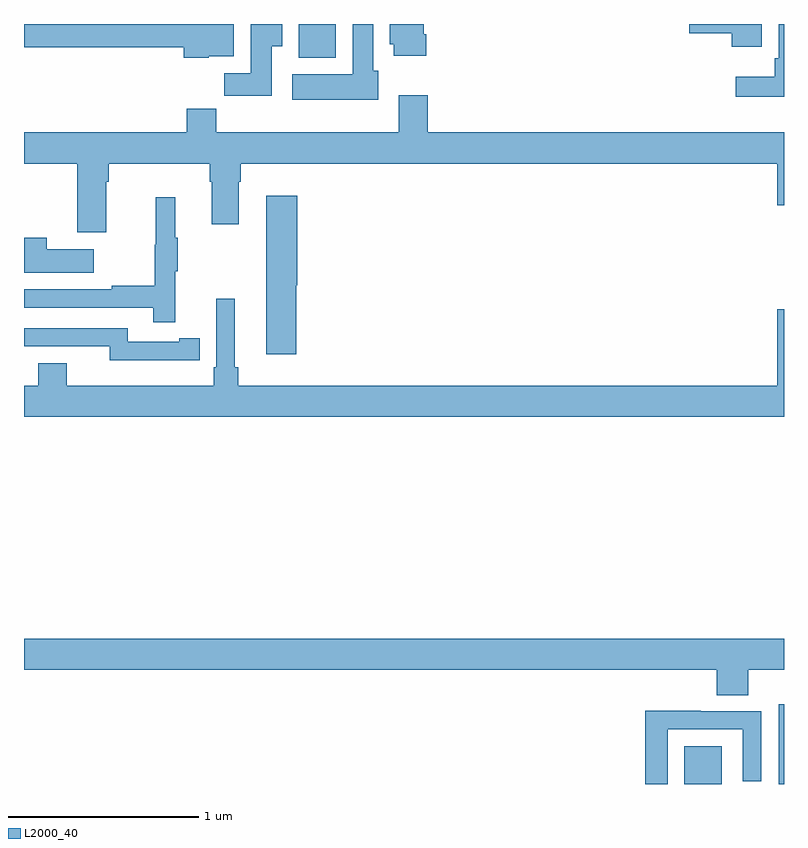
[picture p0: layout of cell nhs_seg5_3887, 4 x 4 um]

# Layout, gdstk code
import gdstk
lib = gdstk.Library(unit=1e-6, precision=1e-09)
def R(c, l, rs):  # rectangles x0, y0, x1, y1
    for r in rs: c.add(gdstk.rectangle(r[:2], r[2:], *l))
def P(c, l, *ps):  # polygons
    for p in ps: c.add(gdstk.Polygon(p, *l))
L2000_40 = (2000, 40)

nhs_seg5_3887 = lib.new_cell('nhs_seg5_3887')
R(nhs_seg5_3887, L2000_40, [(342.476,882.799,342.673,882.997), (342.972,882.799,343,883.219), (340.445,886.622,340.642,886.799)])
P(nhs_seg5_3887, L2000_40, [(342.883,886.799),(342.5,886.799),(342.5,886.751),(342.725,886.751),(342.725,886.68),(342.883,886.68)],
  [(343,886.799),(342.972,886.799),(342.972,886.618),(342.952,886.618),(342.952,886.522),(342.747,886.522),(342.747,886.415),(343,886.415)],
  [(340.303,886.681),(340.36,886.681),(340.36,886.799),(340.193,886.799),(340.193,886.54),(340.054,886.54),(340.054,886.422),(340.303,886.422)],
  [(340.864,886.554),(340.837,886.554),(340.837,886.799),(340.73,886.799),(340.73,886.534),(340.413,886.534),(340.413,886.4),(340.864,886.4)],
  [(339.972,886.628),(340.105,886.628),(340.105,886.799),(339,886.799),(339,886.677),(339.842,886.677),(339.842,886.622),(339.972,886.622)],
  [(341.117,886.744),(341.104,886.744),(341.104,886.799),(340.925,886.799),(340.925,886.692),(340.946,886.692),(340.946,886.632),(341.117,886.632)],
  [(339.433,885.968),(339.446,885.968),(339.446,886.064),(339.977,886.064),(339.977,885.968),(339.989,885.968),(339.989,885.744),(340.129,885.744),(340.129,885.968),(340.142,885.968),(340.142,886.064),(342.965,886.064),(342.965,885.846),(343,885.846),(343,886.228),(341.126,886.228),(341.126,886.423),(340.973,886.423),(340.973,886.228),(340.013,886.228),(340.013,886.352),(339.857,886.352),(339.857,886.228),(339,886.228),(339,886.064),(339.281,886.064),(339.281,885.702),(339.433,885.702)],
  [(340.433,885.423),(340.438,885.423),(340.438,885.895),(340.274,885.895),(340.274,885.06),(340.433,885.06)],
  [(339.797,885.499),(339.808,885.499),(339.808,885.673),(339.797,885.673),(339.797,885.886),(339.694,885.886),(339.694,885.636),(339.687,885.636),(339.687,885.422),(339.463,885.422),(339.463,885.402),(339,885.402),(339,885.306),(339.679,885.306),(339.679,885.228),(339.797,885.228)],
  [(339.367,885.613),(339.119,885.613),(339.119,885.673),(339,885.673),(339,885.491),(339.367,885.491)],
  [(343,885.298),(342.965,885.298),(342.965,884.896),(340.127,884.896),(340.127,884.992),(340.108,884.992),(340.108,885.352),(340.011,885.352),(340.011,884.992),(339.998,884.992),(339.998,884.896),(339.226,884.896),(339.226,885.013),(339.074,885.013),(339.074,884.896),(339,884.896),(339,884.732),(343,884.732)],
  [(339.818,885.03),(339.926,885.03),(339.926,885.146),(339.818,885.146),(339.818,885.126),(339.546,885.126),(339.546,885.198),(339,885.198),(339,885.102),(339.45,885.102),(339.45,885.029),(339.818,885.029)],
  [(342.812,883.4),(343,883.4),(343,883.564),(339,883.564),(339,883.4),(342.647,883.4),(342.647,883.267),(342.812,883.267)],
  [(342.387,883.086),(342.783,883.086),(342.783,882.813),(342.879,882.813),(342.879,883.182),(342.563,883.182),(342.563,883.184),(342.271,883.184),(342.271,882.799),(342.387,882.799)])

lib.write_gds('nhs_seg5_3887.gds')
